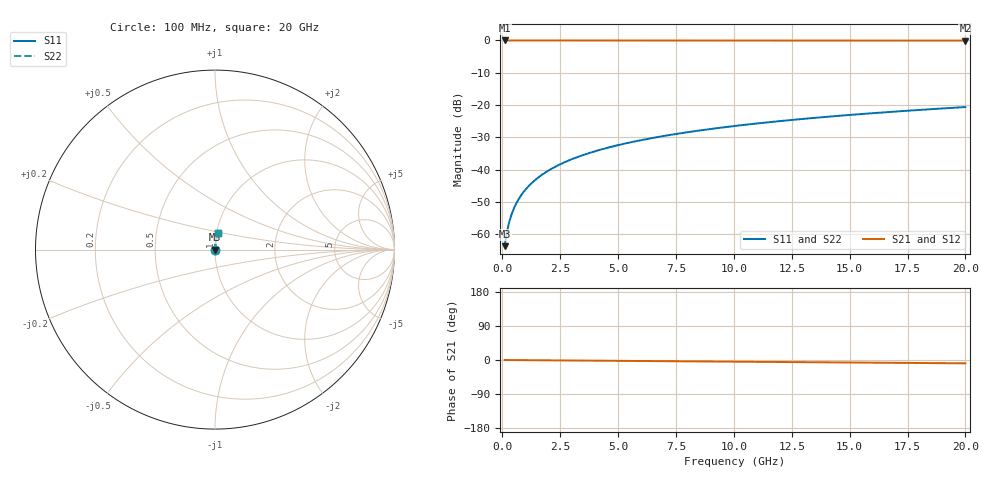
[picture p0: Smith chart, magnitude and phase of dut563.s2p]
! Touchstone file exported from HFSS 2026.1.0
!  File:  C:/ffzhzh/LocalFiles/Ansys_Project_Files/temp_train_TSV_563_1783024551_51716.aedt
!  Generated:  04:38:03 AM Jul  3, 2026
!  Design:  TSV
!  Project:  temp_train_TSV_563_1783024551_51716
! Variables:
!  h_bsmrdl = 2um
!  h_ox = 20um
!  h_rdl = 5um
!  h_sub = 62.26um
!  h_tmrdl = 5um
!  h_tsv = 62.26um
!  h_via = 3um
!  l_bsmrdl = 300um
!  l_sub = 408.52um
!  l_tmrdl = 200um
!  m_sub = 200um
!  pitch = 51.74um
!  r_tsv = 4.26um
!  s_tmrdl = 10um
!  w_bsmrdl = 18um
!  w_sub = 500um
!  w_tmrdl = 12um
!  x_tsv_center1 = 206um
!  x_tsv_center2 = 524um
!  x_tsv_center3 = 736um
!  x_tsv_center4 = 1054um
!  x_tsv_center5 = 1266um
!  x_tsv_center6 = 1584um
# GHz S MA R 50.000000
! Terminal data exported
! Port[1] = TSV1_1_T1
! Port[2] = TSV1_1_T2
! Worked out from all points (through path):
!   200 points, 100 MHz to 20 GHz, reference 50 ohm
!   highest |S21| = 0.00 dB at 100 MHz (marker M1); lowest = -0.1 dB at 20 GHz (marker M2)
!   group delay of S21, straight-line fit = 1.21 ps
!   lowest |S11| = -63.6 dB at 100 MHz (marker M3), VSWR 1.00, Z = 50 + j0.0502 ohm
!   |S11| at or under -10 dB: start of sweep to end of sweep
!   |S22| runs from -63.6 to -20.6 dB; largest |S21 - S12| = 4.1e-15
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0.1  0.0006575 49.7  0.9996 -0.0  0.9996 -0.0  0.0006575 49.7
! Gamma 0 0 0 0
! Port Impedance 50 0 50 0
0.2  0.00109 66.4  0.9996 -0.1  0.9996 -0.1  0.00109 66.4
0.3  0.001558 73.3  0.9996 -0.1  0.9996 -0.1  0.001558 73.3
0.4  0.002034 76.9  0.9995 -0.2  0.9995 -0.2  0.002034 76.9
0.5  0.002513 79.1  0.9995 -0.2  0.9995 -0.2  0.002513 79.1
0.7  0.003473 81.7  0.9995 -0.3  0.9995 -0.3  0.003473 81.7
0.8  0.003955 82.5  0.9995 -0.4  0.9995 -0.4  0.003955 82.5
1  0.004919 83.7  0.9995 -0.5  0.9995 -0.5  0.004919 83.7
1.2  0.005884 84.4  0.9995 -0.5  0.9995 -0.5  0.005884 84.4
1.4  0.00685 84.9  0.9994 -0.6  0.9994 -0.6  0.00685 84.9
1.7  0.008297 85.4  0.9994 -0.8  0.9994 -0.8  0.008297 85.4
2  0.009743 85.6  0.9994 -0.9  0.9994 -0.9  0.009743 85.6
2.7  0.01311 85.9  0.9992 -1.2  0.9992 -1.2  0.01311 85.9
3.5  0.01693 85.9  0.9991 -1.6  0.9991 -1.6  0.01693 85.9
4.2  0.02025 85.7  0.999 -1.9  0.999 -1.9  0.02025 85.7
5  0.02403 85.5  0.9988 -2.2  0.9988 -2.2  0.02403 85.5
6.8  0.03247 85.0  0.9983 -3.0  0.9983 -3.0  0.03247 85.0
8.3  0.03946 84.5  0.998 -3.7  0.998 -3.7  0.03946 84.5
10.1  0.04782 83.9  0.9975 -4.5  0.9975 -4.5  0.04782 83.9
13.4  0.06307 82.7  0.9964 -5.9  0.9964 -5.9  0.06307 82.7
16.7  0.07822 81.4  0.9952 -7.3  0.9952 -7.3  0.07822 81.4
20  0.09325 80.0  0.9937 -8.8  0.9937 -8.8  0.09325 80.0
